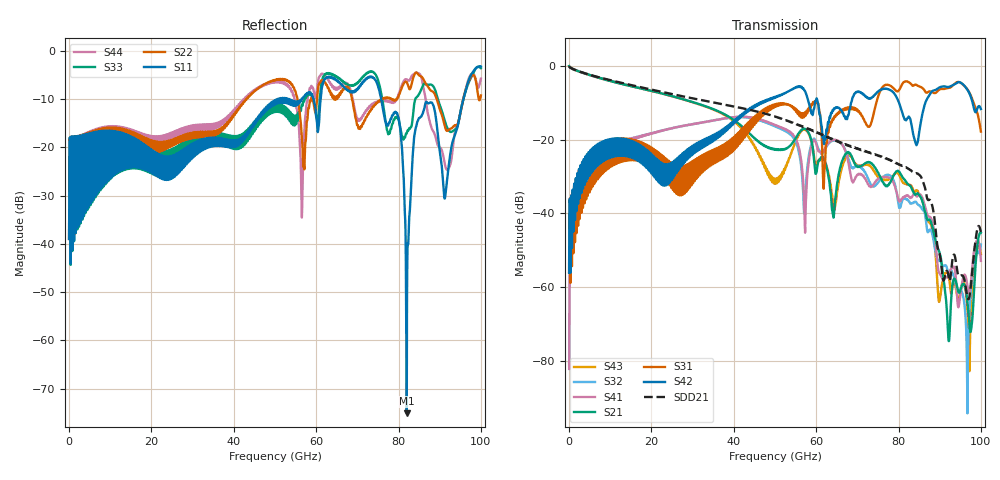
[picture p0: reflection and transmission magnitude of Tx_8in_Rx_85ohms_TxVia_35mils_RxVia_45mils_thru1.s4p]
! Info: Touchstone file created by Circ.  Input file=Tx_8in_Rx_85ohms_TxVia_35mils_RxVia_45mils.circ
# Hz S RI R 50
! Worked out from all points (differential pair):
!   10000 points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, 10 MHz to 100 GHz, reference 50 ohm
!   strongest paths, dB at 10 MHz, 25.01 GHz, 50.01 GHz, 75.01 GHz, 100 GHz:
!     S42: -56.0, -26.5, -8.4, -7.0, -11.7
!     S31: -56.0, -26.4, -10.4, -8.5, -17.8
!     S21: -0.1, -8.2, -22.6, -28.9, -45.2
!     S41: -80.3, -16.9, -16.0, -30.6, -52.8
!     S32: -80.3, -16.9, -16.4, -31.6, -48.4
!     S43: -0.1, -8.3, -31.0, -30.0, -51.0
!   taken as a pair (ports 1,3 in; 2,4 out), SDD21 dB: -0.1, -7.6, -13.7, -24.3, -45.0
!   lowest |S11| = -75.1 dB at 82 GHz (marker M1), VSWR 1.00, Z = 50 + j0.0167 ohm
!   |S11| at or under -10 dB: start of sweep to 50.61 GHz; 53.41 GHz to 56.44 GHz (3.034 GHz wide, 5.52 % of centre); 75.79 GHz to 95.76 GHz (19.97 GHz wide, 23.3 % of centre) (the widest 3 of 11)
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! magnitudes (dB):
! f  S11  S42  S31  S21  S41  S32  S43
! 10 MHz  -39.0  -56.0  -56.0  -0.1  -80.3  -80.3  -0.1
! 2.2 GHz  -17.7  -37.4  -43.3  -1.5  -30.9  -30.9  -1.5
! 12.12 GHz  -18.4  -21.9  -22.3  -4.7  -20.5  -20.5  -4.7
! 73.66 GHz  -5.4  -8.4  -14.3  -26.7  -32.6  -32.7  -28.0
! 82 GHz  -75.1  -14.4  -4.2  -31.7  -35.2  -36.2  -32.2
! 92.16 GHz  -24.0  -5.7  -6.0  -74.4  -56.8  -56.1  -56.6
! 100 GHz  -3.2  -11.7  -17.8  -45.2  -52.8  -48.4  -51.0
